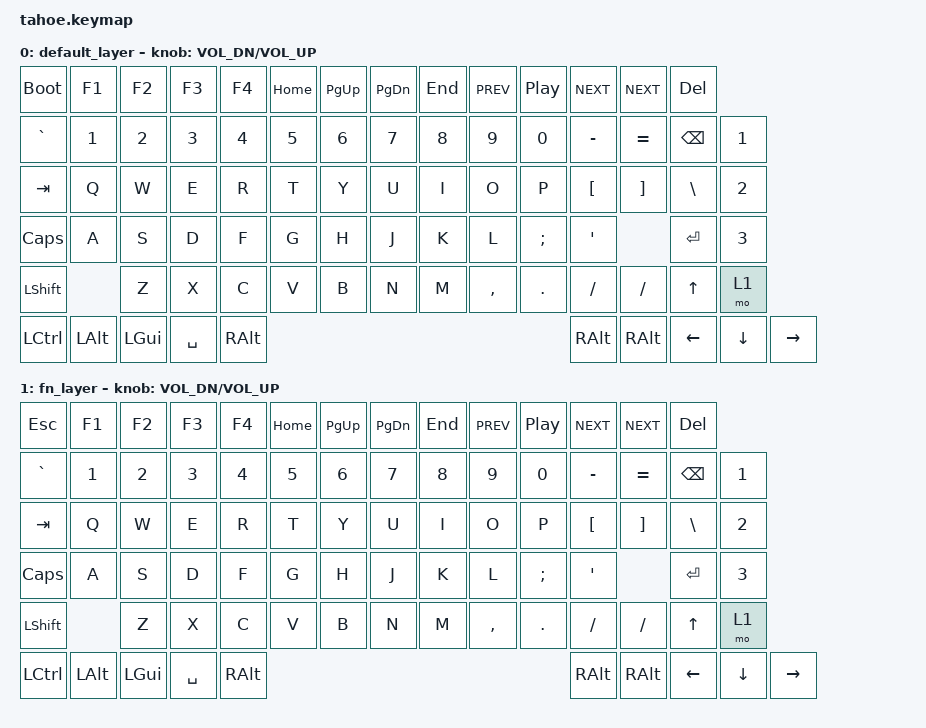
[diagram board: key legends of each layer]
/*
 * Copyright (c) 2022 The ZMK Contributors
 *
 * SPDX-License-Identifier: MIT
 */

#include <behaviors.dtsi>
#include <dt-bindings/zmk/keys.h>
#include <dt-bindings/zmk/bt.h>
#include <dt-bindings/zmk/outputs.h>
#include <dt-bindings/zmk/rgb.h>
#include <dt-bindings/zmk/ext_power.h>

/ {
	keymap {
		compatible = "zmk,keymap";

		default_layer {

			bindings = <
    &bootloader      &kp F1       &kp F2       &kp F3       &kp F4       &kp HOME       &kp PG_UP    &kp PG_DN      &kp END      &kp C_PREV &kp C_PP   &kp C_NEXT         &kp C_NEXT      &kp DEL
    &kp GRAVE    &kp N1       &kp N2       &kp N3       &kp N4       &kp N5         &kp N6       &kp N7         &kp N8       &kp N9     &kp N0     &kp MINUS          &kp EQUAL       &kp BSPC        &kp N1
    &kp TAB      &kp Q        &kp W        &kp E        &kp R        &kp T          &kp Y        &kp U          &kp I        &kp O      &kp P      &kp LBKT           &kp RBKT        &kp BSLH        &kp N2
    &kp CAPS     &kp A        &kp S        &kp D        &kp F        &kp G          &kp H        &kp J          &kp K        &kp L      &kp SEMI   &kp SQT                            &kp ENTER       &kp N3
    &kp LSHFT                 &kp Z        &kp X        &kp C        &kp V          &kp B        &kp N          &kp M        &kp COMMA  &kp DOT    &kp FSLH           &kp FSLH        &kp UP          &mo 1
    &kp LCTRL    &kp LALT     &kp LGUI                                              &kp SPACE                                           &kp RALT   &kp RALT  &kp RALT &kp LEFT        &kp DOWN        &kp RIGHT
			>;
			
			sensor-bindings = <&inc_dec_kp C_VOL_DN C_VOL_UP>;
			
		};

		fn_layer {
			bindings = <
    &kp ESC      &kp F1       &kp F2       &kp F3       &kp F4       &kp HOME       &kp PG_UP    &kp PG_DN      &kp END      &kp C_PREV &kp C_PP   &kp C_NEXT         &kp C_NEXT      &kp DEL
    &kp GRAVE    &kp N1       &kp N2       &kp N3       &kp N4       &kp N5         &kp N6       &kp N7         &kp N8       &kp N9     &kp N0     &kp MINUS          &kp EQUAL       &kp BSPC        &kp N1
    &kp TAB      &kp Q        &kp W        &kp E        &kp R        &kp T          &kp Y        &kp U          &kp I        &kp O      &kp P      &kp LBKT           &kp RBKT        &kp BSLH        &kp N2
    &kp CAPS     &kp A        &kp S        &kp D        &kp F        &kp G          &kp H        &kp J          &kp K        &kp L      &kp SEMI   &kp SQT                            &kp ENTER       &kp N3
    &kp LSHFT                 &kp Z        &kp X        &kp C        &kp V          &kp B        &kp N          &kp M        &kp COMMA  &kp DOT    &kp FSLH           &kp FSLH        &kp UP          &mo 1
    &kp LCTRL    &kp LALT     &kp LGUI                                              &kp SPACE                                           &kp RALT   &kp RALT  &kp RALT &kp LEFT        &kp DOWN        &kp RIGHT
			>;
			
			sensor-bindings = <&inc_dec_kp C_VOL_DN C_VOL_UP>;
			
		};
	};
};

